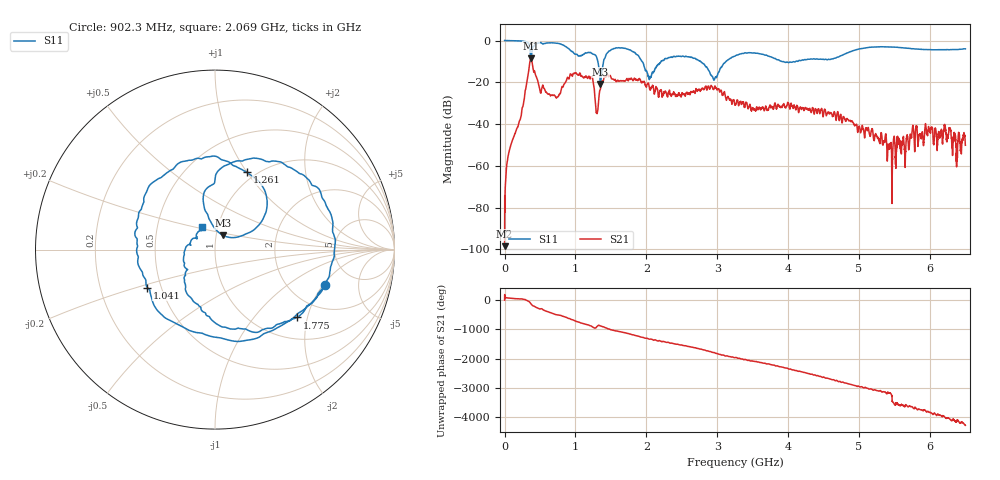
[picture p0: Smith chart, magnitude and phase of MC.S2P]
!Keysight Technologies,E5063A,MY54503115,A.05.08
!Date: Mon Dec 11 13:36:09 2023
!Data & Calibration Information:
!Freq	S11:NONE(--)	S21:NONE(--)	S12:NONE(--)	S22:NONE(--)
# Hz S dB R 50
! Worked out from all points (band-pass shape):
!   10001 points, 100 kHz to 6.5 GHz, reference 50 ohm
!   highest |S21| = -8.53 dB at 372.5 MHz (marker M1); lowest = -98.5 dB at 100 kHz (marker M2)
!   |S21| within 3 dB of the highest: 350.4 MHz to 393.2 MHz (42.77 MHz wide, 11.5 % of centre)
!   lowest |S11| = -20.8 dB at 1.351 GHz (marker M3), VSWR 1.20, Z = 54 + j8.57 ohm
!   |S11| at or under -10 dB: 1.94 GHz to 2.208 GHz (267.9 MHz wide, 12.9 % of centre); 2.765 GHz to 3.123 GHz (358.2 MHz wide, 12.2 % of centre); 3.912 GHz to 4.106 GHz (193.8 MHz wide, 4.83 % of centre) (the widest 3 of 6)
!   S12 and S22 are empty: the file has one direction only
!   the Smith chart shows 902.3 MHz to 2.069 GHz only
!   S11 on the Smith chart (normalised r, x): 902.3 MHz: 3.10, -2.09; 1.041 GHz: 0.42, -0.22; 1.261 GHz: 0.91, +1.00; 1.775 GHz: 1.48, -1.72; 2.069 GHz: 0.84, +0.22
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100000  0.05 -0.6  -98.52 3.2  -200.00 0.0  -200.00 0.0
6.119906e7  -0.01 -19.7  -53.54 74.8  -200.00 0.0  -200.00 0.0
2.314964e8  -0.21 -77.0  -36.33 45.8  -200.00 0.0  -200.00 0.0
3.725443e8  -10.18 -124.2  -8.53 -126.0  -200.00 0.0  -200.00 0.0
5.785911e8  -1.32 168.8  -24.69 -7.7  -200.00 0.0  -200.00 0.0
7.274388e8  -1.21 96.7  -27.41 -134.1  -200.00 0.0  -200.00 0.0
9.022861e8  -3.83 -17.9  -18.35 97.2  -200.00 0.0  -200.00 0.0
1.040734e9  -7.29 -150.6  -16.27 -26.9  -200.00 0.0  -200.00 0.0
1.083633e9  -7.21 175.4  -17.06 -61.4  -200.00 0.0  -200.00 0.0
1.261081e9  -6.62 67.7  -22.12 135.6  -200.00 0.0  -200.00 0.0
1.30268e9  -8.37 40.4  -34.91 175.9  -200.00 0.0  -200.00 0.0
1.351429e9  -20.84 60.1  -23.28 -157.3  -200.00 0.0  -200.00 0.0
1.499627e9  -4.51 56.0  -17.49 66.4  -200.00 0.0  -200.00 0.0
1.774573e9  -4.55 -39.7  -18.59 -81.1  -200.00 0.0  -200.00 0.0
2.069018e9  -16.77 118.9  -22.24 104.3  -200.00 0.0  -200.00 0.0
2.167167e9  -11.44 46.1  -26.35 40.9  -200.00 0.0  -200.00 0.0
2.61956e9  -7.95 -51.4  -25.26 -150.4  -200.00 0.0  -200.00 0.0
2.964054e9  -18.27 -48.5  -21.84 -0.0  -200.00 0.0  -200.00 0.0
3.25005e9  -7.44 -50.3  -30.76 -162.7  -200.00 0.0  -200.00 0.0
4.333583e9  -8.88 -129.5  -33.92 -11.2  -200.00 0.0  -200.00 0.0
5.417117e9  -3.01 162.6  -50.81 66.9  -200.00 0.0  -200.00 0.0
6.5e9  -3.96 109.0  -50.18 34.0  -200.00 0.0  -200.00 0.0
